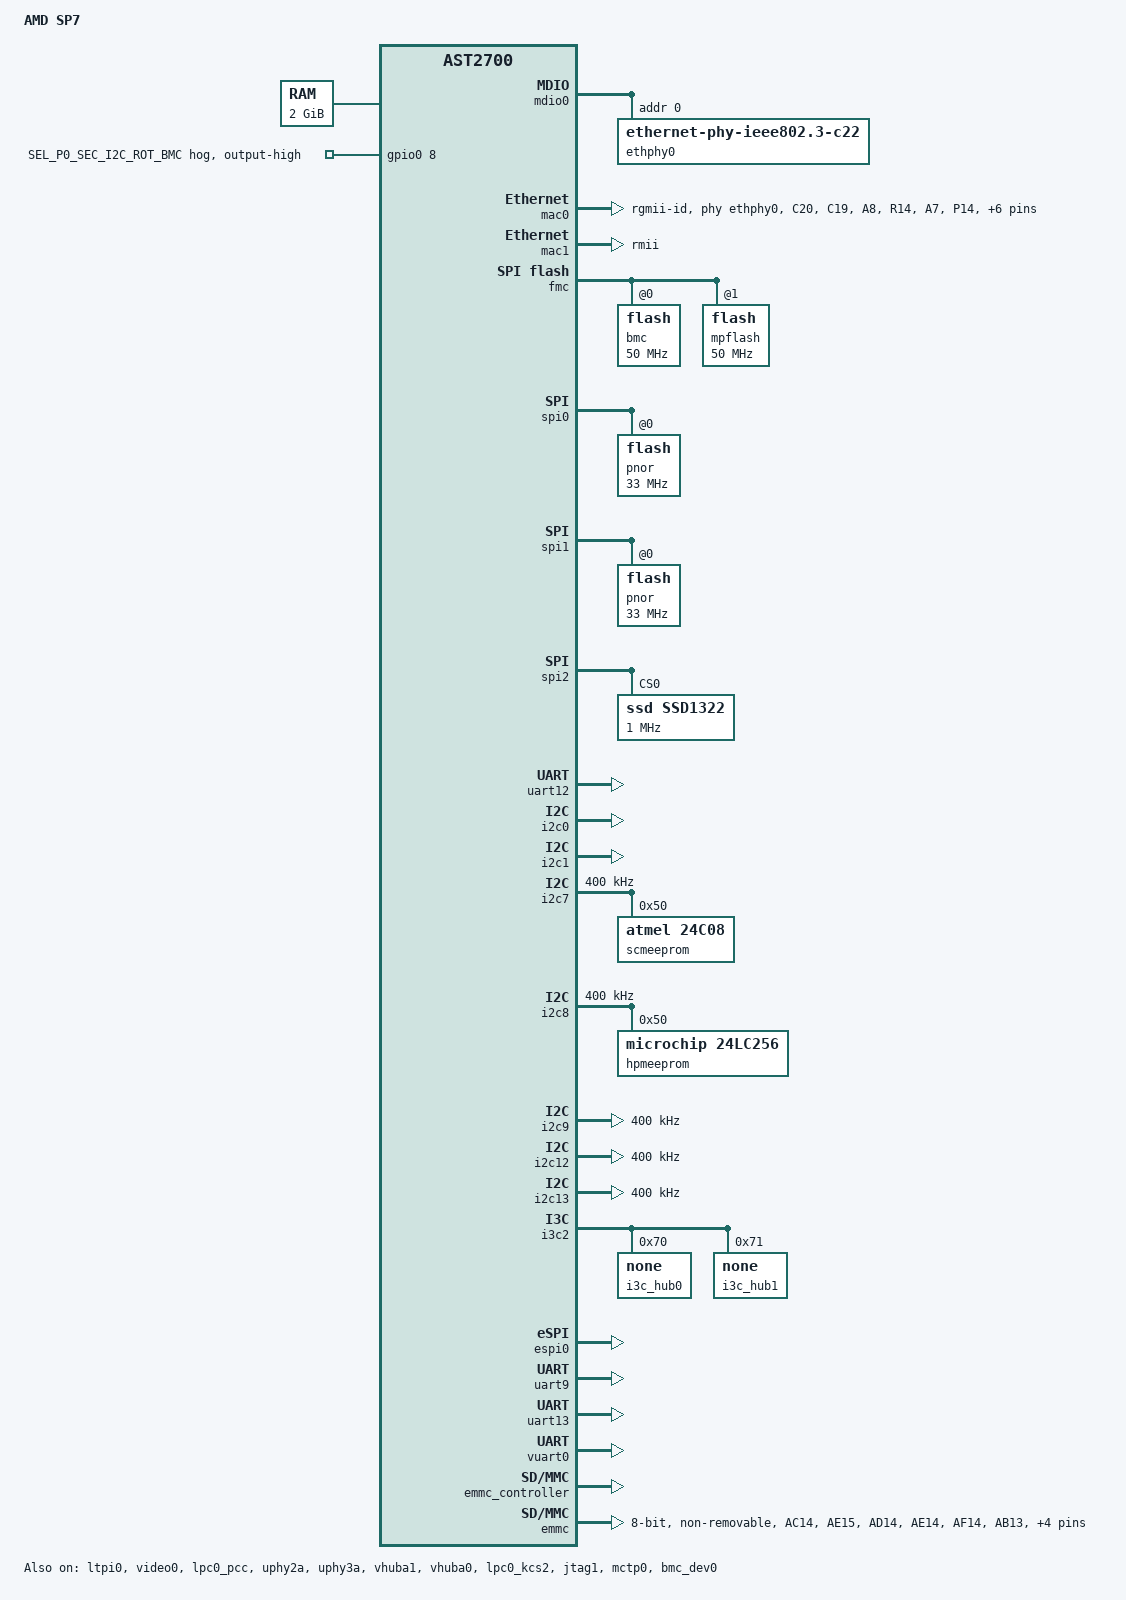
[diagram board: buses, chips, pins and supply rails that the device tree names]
// SPDX-License-Identifier: GPL-2.0
// Copyright (c) 2026 AMD Inc.
// Author: Mohsen Dolaty <mohsen.dolaty@amd.com>

/dts-v1/;

#include "aspeed-g7.dtsi"
#include "dt-bindings/gpio/aspeed-gpio.h"
#include <dt-bindings/i2c/i2c.h>
#include <dt-bindings/i3c/i3c.h>

#define PCIE0_EP 1      // 1: EP, 0: RC
#define PCIE1_EP 1      // 1: EP, 0: RC

/ {
	model = "AMD SP7";
	compatible = "amd,unknown-bmc", "aspeed,ast2700";
	
	chosen {
		stdout-path = &uart12;
		bootargs = "console=ttyS12,115200n8";
	};

	firmware {
		optee: optee {
			compatible = "linaro,optee-tz";
			method = "smc";
		};
	};

	memory@400000000 {
		device_type = "memory";
		reg = <0x4 0x00000000 0x0 0x80000000>;
	};

	reserved-memory {
		#address-cells = <2>;
		#size-cells = <2>;
		ranges;

		#include "ast2700-reserved-mem.dtsi"

		video_engine_memory0: video0 {
			size = <0x0 0x04000000>;
			alignment = <0x0 0x00010000>;
			compatible = "shared-dma-pool";
			reusable;
		};
	};

	aliases {
	};
};

&mdio0 {
	status = "okay";
	#address-cells = <1>;
	#size-cells = <0>;

	ethphy0: ethernet-phy@0 {
		compatible = "ethernet-phy-ieee802.3-c22";
		reg = <0>;
	};
};

&pinctrl1 {
	pinctrl_rgmii0_driving: rgmii0_driving {
		pins = "C20", "C19", "A8", "R14", "A7", "P14",
		       "D20", "A6", "B6", "N14", "B7", "B8";
		drive-strength = <1>;
	};
};

&mac0 {
	status = "okay";
	phy-mode = "rgmii-id";
	phy-handle = <&ethphy0>;
	pinctrl-names = "default";
	pinctrl-0 = <&pinctrl_rgmii0_default &pinctrl_rgmii0_driving>;
};

&mac1 {
	status = "okay";
	pinctrl-names = "default";
	pinctrl-0 = <&pinctrl_rmii1_default>;
	clock-names = "MACCLK", "RCLK";
	phy-mode = "rmii";
	use-ncsi;
};

&fmc {
	status = "okay";
	pinctrl-0 = <&pinctrl_fwspi_quad_default>;
	pinctrl-names = "default";

	flash@0 {
		status = "okay";
		m25p,fast-read;
		label = "bmc";
		spi-max-frequency = <50000000>;
		spi-tx-bus-width = <4>;
		spi-rx-bus-width = <4>;
#include "amd-flash-layout-128.dtsi"
	};

	flash@1 {
		status = "okay";
		m25p,fast-read;
		label = "mpflash";
		spi-max-frequency = <50000000>;
		spi-tx-bus-width = <4>;
		spi-rx-bus-width = <4>;
	};
};

&spi0 {
	status = "okay";
	pinctrl-0 = <&pinctrl_spi0_default &pinctrl_spi0_cs1_default>;
	pinctrl-names = "default";

	flash@0 {
		status = "okay";
		m25p,fast-read;
		label = "pnor";
		spi-max-frequency = <33000000>;
		spi-tx-bus-width = <1>;
		spi-rx-bus-width = <1>;
	};
};

&spi1 {
	status = "okay";
	pinctrl-0 = <&pinctrl_spi1_default &pinctrl_spi1_cs1_default>;
	pinctrl-names = "default";

	flash@0 {
		status = "okay";
		m25p,fast-read;
		label = "pnor";
		spi-max-frequency = <33000000>;
		spi-tx-bus-width = <1>;
		spi-rx-bus-width = <1>;
	};
};

&spi2 {
	status = "okay";
	pinctrl-0 = <&pinctrl_spi2_default &pinctrl_spi2_cs1_default>;
	pinctrl-names = "default";
	compatible = "aspeed,ast2700-spi-txrx";
	flash@0 {
		reg = <0>;
		status = "disabled";
		m25p,fast-read;
		label = "pnor";
		compatible = "jedec,spi-nor";
		spi-max-frequency = <33000000>;
		spi-tx-bus-width = <1>;
		spi-rx-bus-width = <1>;
	};
	oled@0 {
        reg = < 0 >; // Chip select 0
        compatible = "ssd,ssd1322";
        spi-max-frequency = <1000000>; // Adjust the frequency as needed
        label = "ssd1322";
        status = "okay"; // Enable the SSD1322 device
        spi-tx-bus-width = <1>;
        spi-rx-bus-width = <1>;
    };
};

//BMC Console
&uart12 {
	status = "okay";
};

&i2c0 {
	/delete-property/ pinctrl-names;
	/delete-property/ pinctrl-0;
	status = "okay";
};

&i2c1 {
	/delete-property/ pinctrl-names;
	/delete-property/ pinctrl-0;
	status = "okay";
};

&i2c7 {
	status = "okay";
	clock-frequency = <400000>;
	scmeeprom@50 {
		compatible = "atmel,24c08";
		reg = <0x50>;
	};
};

&i2c8 {
	status = "okay";
	clock-frequency = <400000>;

	hpmeeprom@50 {
		compatible = "microchip,24lc256","atmel,24c256";
		reg = <0x50>;
	};
};

&i2c9 {
	status = "okay";
	clock-frequency = <400000>;
};


&i2c12 {
	status = "okay";
	clock-frequency = <400000>;
};

&i2c13 {
	status = "okay";
	clock-frequency = <400000>;
};

#define JESD300_SPD_I3C_MODE(bus, index, addr) \
spd_ ## bus ## _ ## index: spd@addr,4cc5118 ## index ## 000 { \
	reg = <0x ## addr 0x4cc 0x5118 ## index ## 000>; \
	assigned-address = <0x ## addr>; \
	dcr = /bits/ 8 <0xda>; \
	bcr = /bits/ 8 <0x6>; \
}

#define JESD300_SPD_I2C_MODE(bus, index, addr) \
spd_ ## bus ## _ ## index: spd@addr{ \
	reg = <0x ## addr 0x0 0x40>; \
	compatible = "eeprom"; \
}

#define JESD300_PMIC_I2C_MODE(bus, index, addr) \
pmic_ ## bus ## _ ## index: pmic@addr{ \
	reg = <0x ## addr 0x0 0x40>; \
	compatible = "eeprom"; \
}

&i3c2 {
	status = "okay";
	initial-role = "primary";
	bus-context = /bits/ 8 <I3C_BUS_CONTEXT_JESD403>;
	internal-pullup = <2>;
	i3c-scl-hz = <1000000>;
	i2c-scl-hz = <100000>;

	i3c_hub0: i3chub0@70 {
		reg = <0x70 0x0 0x40>;
		compatible = "none";
	};

	i3c_hub1: i3chub1@71 {
		reg = <0x71 0x0 0x40>;
		compatible = "none";
	};

	JESD300_SPD_I2C_MODE(0, 0, 50);
	JESD300_SPD_I2C_MODE(0, 1, 51);
	JESD300_SPD_I2C_MODE(0, 2, 52);
	JESD300_SPD_I2C_MODE(0, 3, 53);
	JESD300_SPD_I2C_MODE(0, 4, 54);
	JESD300_SPD_I2C_MODE(0, 5, 55);
	JESD300_SPD_I2C_MODE(0, 6, 56);
	JESD300_SPD_I2C_MODE(0, 7, 57);

	JESD300_PMIC_I2C_MODE(0, 0, 48);
	JESD300_PMIC_I2C_MODE(0, 1, 49);
	JESD300_PMIC_I2C_MODE(0, 2, 4a);
	JESD300_PMIC_I2C_MODE(0, 3, 4b);
	JESD300_PMIC_I2C_MODE(0, 4, 4c);
	JESD300_PMIC_I2C_MODE(0, 5, 4d);
	JESD300_PMIC_I2C_MODE(0, 6, 4e);
	JESD300_PMIC_I2C_MODE(0, 7, 4f);
};

&gpio0 {
	status = "okay";

	/*
	 * by default the direction of the SEL_P0_SEC_I2C_ROT_BMC (GPIO B0)
         * is "in". It should be set to "out" and value of "1" for the
         * I2C bus to be owned by the BMC.
         */
	p0_sec_i2c {
		gpio-hog;
		gpios = <8 GPIO_ACTIVE_HIGH>;
		output-high;
		line-name = "SEL_P0_SEC_I2C_ROT_BMC";
	};
};

&ltpi0 {
	status = "okay";
};

&video0 {
	status = "okay";
	memory-region = <&video_engine_memory0>;
};

&edaf0 {
	reg = <0x1 0x80000000 0x0 0x2000000>;
};

&espi0 {
	status = "okay";
	perif-dma-mode;
	perif-mmbi-enable;
	perif-mmbi-src-addr = <0x0 0xa8000000>;
	perif-mmbi-tgt-memory = <&espi0_mmbi_memory>;
	perif-mmbi-instance-num = <0x1>;
	perif-mcyc-enable;
	perif-mcyc-src-addr = <0x0 0x98000000>;
	perif-mcyc-size = <0x0 0x10000>;
	oob-dma-mode;
	flash-dma-mode;
	flash-edaf-mode = <0>;
	flash-edaf-tgt-addr = <&edaf0>;
	flash-edaf-size = <0x0 0x2000000>;
};

&lpc0_pcc {
	pcc-ports = <0x80>;
	status = "okay";
};

&uart9 {
	/delete-property/ pinctrl-names;
	/delete-property/ pinctrl-0;
	status = "okay";
};

&uart13 {
	/delete-property/ pinctrl-names;
	/delete-property/ pinctrl-0;
	status = "okay";
};

/* eSPI VUART */
&vuart0 {
	status = "okay";
	virtual;
	port = <0x3f8>;
	sirq = <4>;
	sirq-polarity = <0>;
};

&uphy2a {
	status = "okay";
};

&uphy3a {
	status = "okay";
};

&vhuba1 {
	status = "okay";
};

&vhuba0 {
	status = "okay";
	pinctrl-0 = <&pinctrl_usb2ahpd0_default>;
};

&xdma0 {
	status = "okay";
	memory-region = <&xdma_memory0>;
};

&lpc0_kcs2 {
	status = "okay";
	kcs-io-addr = <0xca2>;
	kcs-channel = <2>;
};

&jtag1 {
	status = "okay";
};

&mctp0 {
	status = "okay";
	memory-region = <&mctp0_reserved>;
	mctp-controller;
};

&bmc_dev0 {
	status = "okay";
	memory-region = <&bmc_dev0_memory>;
};

&pinctrl0 {
	pinctrl_emmc_8ma: emmc_8ma {
		pins = "AC14", "AE15", "AD14", "AE14", "AF14",
		       "AB13", "AF13", "AC13", "AD13", "AE13";
		drive-strength = <2>;
	};
};
&emmc_controller {
	status = "okay";
	mmc-hs200-1_8v;
};

&emmc {
	status = "okay";
	bus-width = <8>;
	pinctrl-0 = <&pinctrl_emmc_default &pinctrl_emmcg8_default
		     &pinctrl_emmc_8ma>;
	non-removable;
	max-frequency = <200000000>;
};
